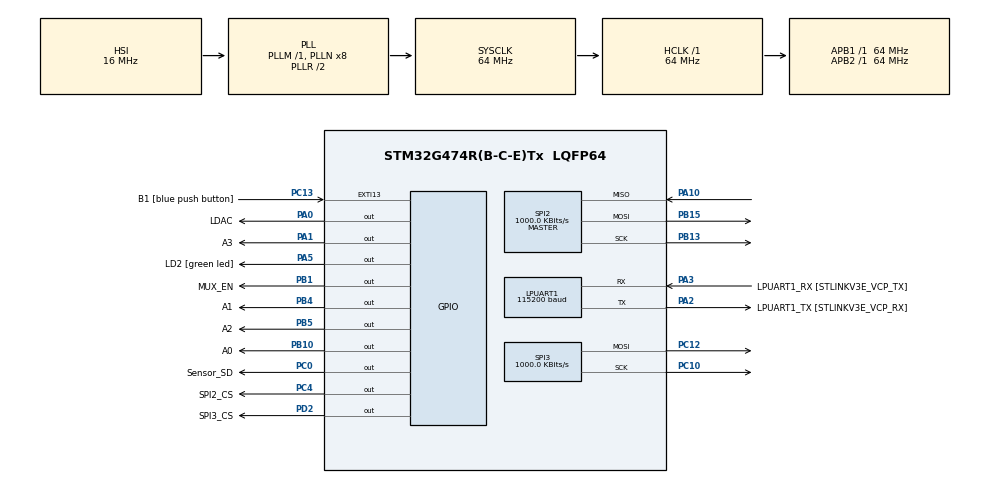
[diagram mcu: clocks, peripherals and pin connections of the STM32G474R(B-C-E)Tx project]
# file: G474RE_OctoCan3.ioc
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LPUART1.BaudRate=115200
LPUART1.FIFOMode=UART_FIFOMODE_ENABLE
LPUART1.WordLength=UART_WORDLENGTH_8B
Mcu.Family=STM32G4
Mcu.Name=STM32G474R(B-C-E)Tx
Mcu.Package=LQFP64
NVIC.EXTI15_10_IRQn=true\:0\:0\:false\:false\:true\:true\:true\:true
NVIC.PriorityGroup=NVIC_PRIORITYGROUP_4
NVIC.TIM6_DAC_IRQn=true\:0\:0\:false\:false\:true\:true\:true\:true
PA0.GPIO_Label=LDAC
PA0.Signal=GPIO_Output
PA1.GPIO_Label=A3
PA1.Signal=GPIO_Output
PA10.Mode=Full_Duplex_Master
PA10.Signal=SPI2_MISO
PA13.GPIO_Label=T_SWDIO
PA13.Mode=Trace_Asynchronous_SW
PA13.Signal=SYS_JTMS-SWDIO
PA14.GPIO_Label=T_SWCLK
PA14.Mode=Trace_Asynchronous_SW
PA14.Signal=SYS_JTCK-SWCLK
PA2.GPIO_Label=LPUART1_TX [STLINKV3E_VCP_RX]
PA2.Mode=Asynchronous
PA2.Signal=LPUART1_TX
PA3.GPIO_Label=LPUART1_RX [STLINKV3E_VCP_TX]
PA3.Mode=Asynchronous
PA3.Signal=LPUART1_RX
PA5.GPIO_Label=LD2 [green led]
PA5.Signal=GPIO_Output
PA8.Signal=USART1_CK
PA9.Signal=USART1_TX
PB1.GPIO_Label=MUX_EN
PB1.Signal=GPIO_Output
PB10.GPIO_Label=A0
PB10.Signal=GPIO_Output
PB13.Mode=Full_Duplex_Master
PB13.Signal=SPI2_SCK
PB15.Mode=Full_Duplex_Master
PB15.Signal=SPI2_MOSI
PB3.GPIO_Label=T_SWO
PB3.Mode=Trace_Asynchronous_SW
PB3.Signal=SYS_JTDO-SWO
PB4.GPIO_Label=A1
PB4.Signal=GPIO_Output
PB5.GPIO_Label=A2
PB5.Signal=GPIO_Output
PC0.GPIO_Label=Sensor_SD
PC0.PinState=GPIO_PIN_SET
PC0.Signal=GPIO_Output
PC10.Mode=TX_Only_Simplex_Unidirect_Master
PC10.Signal=SPI3_SCK
PC11.Signal=SPI3_MISO
PC12.Mode=TX_Only_Simplex_Unidirect_Master
PC12.Signal=SPI3_MOSI
PC13.GPIO_Label=B1 [blue push button]
PC13.Signal=GPXTI13
PC14-OSC32_IN.Mode=LSE-External-Oscillator
PC14-OSC32_IN.Signal=RCC_OSC32_IN
PC15-OSC32_OUT.Mode=LSE-External-Oscillator
PC15-OSC32_OUT.Signal=RCC_OSC32_OUT
PC4.GPIO_Label=SPI2_CS
PC4.Signal=GPIO_Output
PC5.Signal=USART1_RX
PD2.GPIO_Label=SPI3_CS
PD2.Signal=GPIO_Output
PF0-OSC_IN.Mode=HSE-External-Oscillator
PF0-OSC_IN.Signal=RCC_OSC_IN
PF1-OSC_OUT.Mode=HSE-External-Oscillator
PF1-OSC_OUT.Signal=RCC_OSC_OUT
ProjectManager.HeapSize=0x200
ProjectManager.StackSize=0x400
ProjectManager.TargetToolchain=STM32CubeIDE
RCC.ADC12Freq_Value=64000000
RCC.ADC345Freq_Value=64000000
RCC.AHBFreq_Value=64000000
RCC.APB1Freq_Value=64000000
RCC.APB1TimFreq_Value=64000000
RCC.APB2Freq_Value=64000000
RCC.APB2TimFreq_Value=64000000
RCC.CortexFreq_Value=64000000
RCC.EXTERNAL_CLOCK_VALUE=12288000
RCC.HCLKFreq_Value=64000000
RCC.HSE_VALUE=24000000
RCC.HSI48_VALUE=48000000
RCC.HSI_VALUE=16000000
RCC.RTCClockSelection=RCC_RTCCLKSOURCE_LSE
RCC.SYSCLKFreq_VALUE=64000000
RCC.SYSCLKSource=RCC_SYSCLKSOURCE_PLLCLK
RCC.USBFreq_Value=64000000
RCC.VCOOutputFreq_Value=128000000
SPI2.BaudRatePrescaler=SPI_BAUDRATEPRESCALER_64
SPI2.CLKPolarity=SPI_POLARITY_LOW
SPI2.CalculateBaudRate=1000.0 KBits/s
SPI2.DataSize=SPI_DATASIZE_8BIT
SPI2.Direction=SPI_DIRECTION_2LINES
SPI2.Mode=SPI_MODE_MASTER
SPI2.VirtualType=VM_MASTER
SPI3.BaudRatePrescaler=SPI_BAUDRATEPRESCALER_64
SPI3.CalculateBaudRate=1000.0 KBits/s
SPI3.DataSize=SPI_DATASIZE_16BIT
SPI3.Direction=SPI_DIRECTION_2LINES
SPI3.Mode=SPI_MODE_MASTER
SPI3.VirtualType=VM_MASTER
TIM6.PeriodNoDither=1000
TIM6.Prescaler=64-1
VP_SYS_VS_DBSignals.Mode=DisableDeadBatterySignals
VP_TIM6_VS_ClockSourceINT.Mode=Enable_Timer
board=NUCLEO-G474RE

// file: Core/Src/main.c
/* USER CODE BEGIN Header */
/**
  ******************************************************************************
  * @file           : main.c
  * @brief          : Main program body
  ******************************************************************************
  * @attention
  *
  * Copyright (c) 2022 STMicroelectronics.
  * All rights reserved.
  *
  * This software is licensed under terms that can be found in the LICENSE file
  * in the root directory of this software component.
  * If no LICENSE file comes with this software, it is provided AS-IS.
  *
  ******************************************************************************
  */

/* USER CODE END Header */
#include "main.h"

/* USER CODE BEGIN Includes */
#include <stdio.h>
#include "string.h"
/* USER CODE END Includes */

/* USER CODE BEGIN PD */
#define true 1
#define false 0

// Controller Variables //
#define NUMBER_OF_SENSORS 16 							// Total number of sensors (16)
#define TARGET 26844									// Calibration target, represents 1.024 Volts
#define DAC_CONFIG_BITS 0b0101							// DAC'a configuration bits(DACa:Buffered:2x:PowerDown)
/* USER CODE END PD */

UART_HandleTypeDef hlpuart1;
SPI_HandleTypeDef hspi2;
SPI_HandleTypeDef hspi3;
TIM_HandleTypeDef htim6;

/* USER CODE BEGIN PV */
enum States {sCALIB = 'C', sLOG = 'L', sTest = 'T',		// Command States
sSTOP = 'S', sSetup = 'E', sRaw = 'X'};
uint16_t sen_dac[16]; 			  						// Sensors calibrated DAC value
uint16_t cal_dac;										// Calibrated DAC value
/* USER CODE END PV */

void SystemClock_Config(void);
static void MX_GPIO_Init(void);
static void MX_LPUART1_UART_Init(void);
static void MX_SPI2_Init(void);
static void MX_SPI3_Init(void);
static void MX_TIM6_Init(void);
/* USER CODE BEGIN PFP */
uint16_t mux_func(uint16_t n);							// MUX selector function
void calibrate(); 										// Calibration function
uint16_t get_adc(); 									// Get ADC function
void dac_write(uint16_t value); 						// Set DAC function
void log_adc(uint8_t data);								// Log ADC function
/* USER CODE END PFP */

/* USER CODE BEGIN 0 */
/* With GCC/RAISONANCE, small printf (option LD Linker->Libraries->Small printf
 set to 'Yes') calls __io_putchar() */
#ifdef __GNUC__
#define PUTCHAR_PROTOTYPE int __io_putchar(int ch)
#else
#define PUTCHAR_PROTOTYPE int fputc(int ch, FILE *f)
#endif
/* USER CODE END 0 */

int main(void) {
  /* USER CODE BEGIN 1 */
	uint8_t i,log;
	//uint16_t dac_increment = 0;
	uint8_t log_en = false;
  /* USER CODE END 1 */

  /* MCU Configuration--------------------------------------------------------*/

  /* Reset of all peripherals, Initializes the Flash interface and the Systick. */
  HAL_Init();

  /* Configure the system clock */
  SystemClock_Config();

  /* Initialize all configured peripherals */
  MX_GPIO_Init();
  MX_LPUART1_UART_Init();
  MX_SPI2_Init();
  MX_SPI3_Init();
  MX_TIM6_Init();
  /* USER CODE BEGIN 2 */
	puts("Initialized");
	dac_write(0); // Sets DAC
	//Sensor_SD GPIO Port SET To HIGH
	HAL_GPIO_WritePin(Sensor_SD_GPIO_Port, Sensor_SD_Pin, GPIO_PIN_SET);
  /* USER CODE END 2 */

  /* Infinite loop */
  /* USER CODE BEGIN WHILE */
	while (1) {
		char command = 0;
		if(READ_BIT(hlpuart1.Instance->ISR, USART_ISR_RXNE_RXFNE) != 0 ) {
					command = (char)hlpuart1.Instance->RDR;
		}
		// Receives Command //
		switch(command) {

		// Start Calibration //
			case sCALIB:
				printf("Calibrating\r\n");
				for(i=0; i<NUMBER_OF_SENSORS; i++) {
					mux_func(i);
					HAL_Delay(1);
					calibrate();
					sen_dac[i] = cal_dac;
					printf("cDAC: %hu\r\n", sen_dac[i]);
					printf("Sensor: %hu Success\r\n", i);
				}
				break;

		// Logs ADC in ASCII //
			case sLOG:
				printf("Logging\r\n");
				log = 1;
				log_en = true;
				break;

		// Tests DAC //
			case sTest:
				for(;;){
					dac_write(0);
					HAL_Delay(1);
					dac_write(4095);
					HAL_Delay(1);
				}

		// Stops Logging //
			case sSTOP:
				printf("STOPPING\r\n");
				log_en = false;
				break;

		// Set up Firmware //
			case sSetup:
				// Initialization
				printf("Setup\r\n");
				mux_func(1);
				HAL_Delay(1);
				// Calibration
				printf("Calibrating\r\n");
				for(i=0; i<NUMBER_OF_SENSORS; i++) {
					mux_func(i);
					HAL_Delay(1);
					calibrate();
					sen_dac[i] = cal_dac;
					printf("cDAC: %hu\r\n", sen_dac[i]);
					printf("Sensor: %hu Success\r\n", i);
				}
				// Logging
				HAL_Delay(1);
				printf("Logging\r\n");
				log = 1;
				log_en = true;
				break;

		// Logs ADC in raw //
			case sRaw:
				printf("Logging\r\n");
				log = 2;
				log_en = true;

		// Default //
			default:
				break;
		}

	if (log_en) { log_adc(log); }
	HAL_Delay(1);
    /* USER CODE END WHILE */
	}
}

void SystemClock_Config(void)
{
  RCC_OscInitTypeDef RCC_OscInitStruct = {0};
  RCC_ClkInitTypeDef RCC_ClkInitStruct = {0};

  /** Configure the main internal regulator output voltage
  */
  HAL_PWREx_ControlVoltageScaling(PWR_REGULATOR_VOLTAGE_SCALE1);

  /** Initializes the RCC Oscillators according to the specified parameters
  * in the RCC_OscInitTypeDef structure.
  */
  RCC_OscInitStruct.OscillatorType = RCC_OSCILLATORTYPE_HSI;
  RCC_OscInitStruct.HSIState = RCC_HSI_ON;
  RCC_OscInitStruct.HSICalibrationValue = RCC_HSICALIBRATION_DEFAULT;
  RCC_OscInitStruct.PLL.PLLState = RCC_PLL_ON;
  RCC_OscInitStruct.PLL.PLLSource = RCC_PLLSOURCE_HSI;
  RCC_OscInitStruct.PLL.PLLM = RCC_PLLM_DIV1;
  RCC_OscInitStruct.PLL.PLLN = 8;
  RCC_OscInitStruct.PLL.PLLP = RCC_PLLP_DIV2;
  RCC_OscInitStruct.PLL.PLLQ = RCC_PLLQ_DIV2;
  RCC_OscInitStruct.PLL.PLLR = RCC_PLLR_DIV2;
  if (HAL_RCC_OscConfig(&RCC_OscInitStruct) != HAL_OK)
  {
    Error_Handler();
  }

  /** Initializes the CPU, AHB and APB buses clocks
  */
  RCC_ClkInitStruct.ClockType = RCC_CLOCKTYPE_HCLK|RCC_CLOCKTYPE_SYSCLK
                              |RCC_CLOCKTYPE_PCLK1|RCC_CLOCKTYPE_PCLK2;
  RCC_ClkInitStruct.SYSCLKSource = RCC_SYSCLKSOURCE_PLLCLK;
  RCC_ClkInitStruct.AHBCLKDivider = RCC_SYSCLK_DIV1;
  RCC_ClkInitStruct.APB1CLKDivider = RCC_HCLK_DIV1;
  RCC_ClkInitStruct.APB2CLKDivider = RCC_HCLK_DIV1;

  if (HAL_RCC_ClockConfig(&RCC_ClkInitStruct, FLASH_LATENCY_2) != HAL_OK)
  {
    Error_Handler();
  }
}

static void MX_LPUART1_UART_Init(void)
{

  hlpuart1.Instance = LPUART1;
  hlpuart1.Init.BaudRate = 115200;
  hlpuart1.Init.WordLength = UART_WORDLENGTH_8B;
  hlpuart1.Init.StopBits = UART_STOPBITS_1;
  hlpuart1.Init.Parity = UART_PARITY_NONE;
  hlpuart1.Init.Mode = UART_MODE_TX_RX;
  hlpuart1.Init.HwFlowCtl = UART_HWCONTROL_NONE;
  hlpuart1.Init.OneBitSampling = UART_ONE_BIT_SAMPLE_DISABLE;
  hlpuart1.Init.ClockPrescaler = UART_PRESCALER_DIV1;
  hlpuart1.AdvancedInit.AdvFeatureInit = UART_ADVFEATURE_NO_INIT;
  if (HAL_UART_Init(&hlpuart1) != HAL_OK)
  {
    Error_Handler();
  }
  if (HAL_UARTEx_SetTxFifoThreshold(&hlpuart1, UART_TXFIFO_THRESHOLD_1_8) != HAL_OK)
  {
    Error_Handler();
  }
  if (HAL_UARTEx_SetRxFifoThreshold(&hlpuart1, UART_RXFIFO_THRESHOLD_1_8) != HAL_OK)
  {
    Error_Handler();
  }
  if (HAL_UARTEx_EnableFifoMode(&hlpuart1) != HAL_OK)
  {
    Error_Handler();
  }

}

static void MX_SPI2_Init(void)
{

  /* SPI2 parameter configuration*/
  hspi2.Instance = SPI2;
  hspi2.Init.Mode = SPI_MODE_MASTER;
  hspi2.Init.Direction = SPI_DIRECTION_2LINES;
  hspi2.Init.DataSize = SPI_DATASIZE_8BIT;
  hspi2.Init.CLKPolarity = SPI_POLARITY_LOW;
  hspi2.Init.CLKPhase = SPI_PHASE_1EDGE;
  hspi2.Init.NSS = SPI_NSS_SOFT;
  hspi2.Init.BaudRatePrescaler = SPI_BAUDRATEPRESCALER_64;
  hspi2.Init.FirstBit = SPI_FIRSTBIT_MSB;
  hspi2.Init.TIMode = SPI_TIMODE_DISABLE;
  hspi2.Init.CRCCalculation = SPI_CRCCALCULATION_DISABLE;
  hspi2.Init.CRCPolynomial = 7;
  hspi2.Init.CRCLength = SPI_CRC_LENGTH_DATASIZE;
  hspi2.Init.NSSPMode = SPI_NSS_PULSE_ENABLE;
  if (HAL_SPI_Init(&hspi2) != HAL_OK)
  {
    Error_Handler();
  }

}

static void MX_SPI3_Init(void)
{

  /* SPI3 parameter configuration*/
  hspi3.Instance = SPI3;
  hspi3.Init.Mode = SPI_MODE_MASTER;
  hspi3.Init.Direction = SPI_DIRECTION_2LINES;
  hspi3.Init.DataSize = SPI_DATASIZE_16BIT;
  hspi3.Init.CLKPolarity = SPI_POLARITY_LOW;
  hspi3.Init.CLKPhase = SPI_PHASE_1EDGE;
  hspi3.Init.NSS = SPI_NSS_SOFT;
  hspi3.Init.BaudRatePrescaler = SPI_BAUDRATEPRESCALER_64;
  hspi3.Init.FirstBit = SPI_FIRSTBIT_MSB;
  hspi3.Init.TIMode = SPI_TIMODE_DISABLE;
  hspi3.Init.CRCCalculation = SPI_CRCCALCULATION_DISABLE;
  hspi3.Init.CRCPolynomial = 7;
  hspi3.Init.CRCLength = SPI_CRC_LENGTH_DATASIZE;
  hspi3.Init.NSSPMode = SPI_NSS_PULSE_ENABLE;
  if (HAL_SPI_Init(&hspi3) != HAL_OK)
  {
    Error_Handler();
  }

}

static void MX_TIM6_Init(void)
{

  TIM_MasterConfigTypeDef sMasterConfig = {0};

  htim6.Instance = TIM6;
  htim6.Init.Prescaler = 64-1;
  htim6.Init.CounterMode = TIM_COUNTERMODE_UP;
  htim6.Init.Period = 1000;
  htim6.Init.AutoReloadPreload = TIM_AUTORELOAD_PRELOAD_DISABLE;
  if (HAL_TIM_Base_Init(&htim6) != HAL_OK)
  {
    Error_Handler();
  }
  sMasterConfig.MasterOutputTrigger = TIM_TRGO_RESET;
  sMasterConfig.MasterSlaveMode = TIM_MASTERSLAVEMODE_DISABLE;
  if (HAL_TIMEx_MasterConfigSynchronization(&htim6, &sMasterConfig) != HAL_OK)
  {
    Error_Handler();
  }

}

static void MX_GPIO_Init(void)
{
  GPIO_InitTypeDef GPIO_InitStruct = {0};

  /* GPIO Ports Clock Enable */
  __HAL_RCC_GPIOC_CLK_ENABLE();
  __HAL_RCC_GPIOF_CLK_ENABLE();
  __HAL_RCC_GPIOA_CLK_ENABLE();
  __HAL_RCC_GPIOB_CLK_ENABLE();
  __HAL_RCC_GPIOD_CLK_ENABLE();

  /*Configure GPIO pin Output Level */
  HAL_GPIO_WritePin(Sensor_SD_GPIO_Port, Sensor_SD_Pin, GPIO_PIN_SET);

  /*Configure GPIO pin Output Level */
  HAL_GPIO_WritePin(GPIOA, LDAC_Pin|A3_Pin|LD2_Pin, GPIO_PIN_RESET);

  /*Configure GPIO pin Output Level */
  HAL_GPIO_WritePin(SPI2_CS_GPIO_Port, SPI2_CS_Pin, GPIO_PIN_RESET);

  /*Configure GPIO pin Output Level */
  HAL_GPIO_WritePin(GPIOB, MUX_EN_Pin|A0_Pin|A1_Pin|A2_Pin, GPIO_PIN_RESET);

  /*Configure GPIO pin Output Level */
  HAL_GPIO_WritePin(SPI3_CS_GPIO_Port, SPI3_CS_Pin, GPIO_PIN_RESET);

  /*Configure GPIO pin : B1_Pin */
  GPIO_InitStruct.Pin = B1_Pin;
  GPIO_InitStruct.Mode = GPIO_MODE_IT_RISING;
  GPIO_InitStruct.Pull = GPIO_NOPULL;
  HAL_GPIO_Init(B1_GPIO_Port, &GPIO_InitStruct);

  /*Configure GPIO pins : Sensor_SD_Pin SPI2_CS_Pin */
  GPIO_InitStruct.Pin = Sensor_SD_Pin|SPI2_CS_Pin;
  GPIO_InitStruct.Mode = GPIO_MODE_OUTPUT_PP;
  GPIO_InitStruct.Pull = GPIO_NOPULL;
  GPIO_InitStruct.Speed = GPIO_SPEED_FREQ_LOW;
  HAL_GPIO_Init(GPIOC, &GPIO_InitStruct);

  /*Configure GPIO pins : LDAC_Pin A3_Pin LD2_Pin */
  GPIO_InitStruct.Pin = LDAC_Pin|A3_Pin|LD2_Pin;
  GPIO_InitStruct.Mode = GPIO_MODE_OUTPUT_PP;
  GPIO_InitStruct.Pull = GPIO_NOPULL;
  GPIO_InitStruct.Speed = GPIO_SPEED_FREQ_LOW;
  HAL_GPIO_Init(GPIOA, &GPIO_InitStruct);

  /*Configure GPIO pin : PC5 */
  GPIO_InitStruct.Pin = GPIO_PIN_5;
  GPIO_InitStruct.Mode = GPIO_MODE_AF_PP;
  GPIO_InitStruct.Pull = GPIO_NOPULL;
  GPIO_InitStruct.Speed = GPIO_SPEED_FREQ_LOW;
  GPIO_InitStruct.Alternate = GPIO_AF7_USART1;
  HAL_GPIO_Init(GPIOC, &GPIO_InitStruct);

  /*Configure GPIO pins : MUX_EN_Pin A0_Pin A1_Pin A2_Pin */
  GPIO_InitStruct.Pin = MUX_EN_Pin|A0_Pin|A1_Pin|A2_Pin;
  GPIO_InitStruct.Mode = GPIO_MODE_OUTPUT_PP;
  GPIO_InitStruct.Pull = GPIO_NOPULL;
  GPIO_InitStruct.Speed = GPIO_SPEED_FREQ_LOW;
  HAL_GPIO_Init(GPIOB, &GPIO_InitStruct);

  /*Configure GPIO pins : PA8 PA9 */
  GPIO_InitStruct.Pin = GPIO_PIN_8|GPIO_PIN_9;
  GPIO_InitStruct.Mode = GPIO_MODE_AF_PP;
  GPIO_InitStruct.Pull = GPIO_NOPULL;
  GPIO_InitStruct.Speed = GPIO_SPEED_FREQ_LOW;
  GPIO_InitStruct.Alternate = GPIO_AF7_USART1;
  HAL_GPIO_Init(GPIOA, &GPIO_InitStruct);

  /*Configure GPIO pin : SPI3_CS_Pin */
  GPIO_InitStruct.Pin = SPI3_CS_Pin;
  GPIO_InitStruct.Mode = GPIO_MODE_OUTPUT_PP;
  GPIO_InitStruct.Pull = GPIO_NOPULL;
  GPIO_InitStruct.Speed = GPIO_SPEED_FREQ_LOW;
  HAL_GPIO_Init(SPI3_CS_GPIO_Port, &GPIO_InitStruct);

  /* EXTI interrupt init*/
  HAL_NVIC_SetPriority(EXTI15_10_IRQn, 0, 0);
  HAL_NVIC_EnableIRQ(EXTI15_10_IRQn);

}

/* USER CODE BEGIN 4 */
/**
 * @brief Retargets the C library printf function to the USART.
 * @param None
 * @retval None
 */
PUTCHAR_PROTOTYPE {

 /* Place your implementation of fputc here */
 /* e.g. write a character to the USART2 and Loop until the end of transmission */
 HAL_UART_Transmit(&hlpuart1, (uint8_t *)&ch, 1, 0xFFFF);

return ch;
}

/**
 * @brief Selects channel from MUX
 * @param uint8_t n
 * @retval 2 if failed, 0 if completed
 */
uint16_t mux_func(uint16_t n) {

	HAL_GPIO_WritePin(MUX_EN_GPIO_Port, MUX_EN_Pin, GPIO_PIN_SET);

    if(n>=0 && n<=15) {
    	HAL_GPIO_WritePin(A0_GPIO_Port, A0_Pin, n&1);
    	n >>= 1;
    	HAL_GPIO_WritePin(A1_GPIO_Port, A1_Pin, n&1);
    	n >>= 1;
    	HAL_GPIO_WritePin(A2_GPIO_Port, A2_Pin, n&1);
    	n >>= 1;
    	HAL_GPIO_WritePin(A3_GPIO_Port, A3_Pin, n&1);
    }
    else {
        /* Out of Bounds */
        return 1;
    }
    return 0;
}

/**
 * @brief creates a delay in microseconds
 * @param t total delay in microseconds
 * @retval None
 */
void delay_us(uint16_t t) {

	// Start timer
	SET_BIT(TIM6->CR1, TIM_CR1_CEN);

	// Reset the timer's counter register value to zero
	TIM6->CNT = 0;

	// Busy checking the counter
	while(TIM6->CNT < t);

	// Stop timer
	CLEAR_BIT(TIM6->CR1, TIM_CR1_CEN);
}

/**
 * @brief Calibrates sensor
 * @param None
 * @retval true if successful, false otherwise
 */
void calibrate() {

	// Variables //
	uint16_t upper_bound = TARGET + 500;			// upper bounds of target
	uint16_t lower_bound = TARGET - 500;			// lower bounds of target
	uint8_t flag = 0;								// flags 1 if ADC > UB, 0 if ADC < LB
	uint8_t i = 0;									// number of iterations
    uint16_t val_adc[25]; 							// current ADC value
    uint16_t val_dac[25]; 							// current DAC value
    uint16_t incr_dac[25]; 							// current DAC increment

    // sets indexes to 0 //
    for (int j = 0; j < 25; j++) {
    	val_adc[j] = 0;
    	val_dac[j] = 0;
    	incr_dac[j] = 0;
    }

    // First Iteration (i = 0) //
    incr_dac[i] = 4096;
    val_dac[i] = 0;
    dac_write(val_dac[i]);
    delay_us(30);
    val_adc[i] = get_adc();

    // flags initial value //
	if (val_adc[i] > upper_bound) {
		flag = 0;
	}
	else if (val_adc[i] < lower_bound) {
		flag = 1;
	}

	// Start of calibration loop //
    while ((val_adc[i] > upper_bound) || (val_adc[i] < lower_bound)) {

    	// Iteration (1 to 25) //
        i = i + 1;
        if (i > 25) {
        	break;
        }

        // Checks voltage across event //
        if((val_adc[i-1] < lower_bound) && (flag == 1)) {
            incr_dac[i] = (uint16_t)(incr_dac[i-1]>>1);
            flag = 0;
        }
        else if ((val_adc[i-1] > upper_bound) && (flag == 0)) {
            incr_dac[i] = (uint16_t)(incr_dac[i-1]>>1);
            flag = 1;
        }
        else {
        	incr_dac[i] = incr_dac[i-1];
        }

        // Updates DAC for next iteration //
        if (flag == 1) {
        	val_dac[i] = (val_dac[i-1] + incr_dac[i] > 4095) ? 4095 : val_dac[i-1] + incr_dac[i];
        }
        else {
        	val_dac[i] = (val_dac[i-1] < incr_dac[i]) ? 1 : val_dac[i-1] - incr_dac[i];
        }

        // Update ADC value //
        dac_write(val_dac[i]);
        delay_us(30);
        val_adc[i] = get_adc();
    }

	HAL_Delay(1);

	// Print status //
	printf("Completed in %d steps\r\n", i-1);
	printf("ADC: %d\r\n", val_adc[i-1]);
	printf("MOE: %d from target\r\n", TARGET - val_adc[i-1]);
	cal_dac = val_dac[i-1];
}

/**
 * @brief Reads ADC Value
 * @param None
 * @retval ADC Value
 */
uint16_t get_adc() {

	uint8_t adc_value[2];
	// Start ADC conversion by toggling CNVST pin //
	HAL_GPIO_WritePin(SPI2_CS_GPIO_Port, SPI2_CS_Pin, GPIO_PIN_SET);
	HAL_Delay(1);
	HAL_GPIO_WritePin(SPI2_CS_GPIO_Port, SPI2_CS_Pin, GPIO_PIN_RESET);
	HAL_SPI_Receive(&hspi2, adc_value, 2, HAL_MAX_DELAY);

	return (adc_value[0] << 8) | adc_value[1];
}

/**
 * @brief Logs ADC Value
 * @param None
 * @retval None
 */
void log_adc(uint8_t data) {
		for (int i = 0; i < NUMBER_OF_SENSORS; i++) {
		        mux_func(i);
		        HAL_Delay(1);
		        dac_write(sen_dac[i]);
		        delay_us(30);
		        uint32_t cur_adc = get_adc();

		        // Logs ADC in ASCII //
		        if (data == 1) {
		        	printf("S%d:", i);
		        	printf("%lu", cur_adc);
		        	printf(",");
		        	HAL_Delay(1);
		        }

		        // Logs ADC in RAW //
		        else if(data == 2) {
		        	// Address format //
		        	uint8_t address[5] = { 		// Data address for visualizer
		        		0x55, 					// Start of address
						0x10 + i, 				// Selected MUX and channel
						0x00, 					// Padding
						(cur_adc>>8) & 0xFF, 	// MSB
						cur_adc & 0xFF			// LSB
		        	};

					// Transmit address //
					HAL_UART_Transmit(&hlpuart1, address, 5, HAL_MAX_DELAY);
		        }

		    }
		// Uncomment for Arduino Plotter //
		/* printf("\r\n"); */
	}

/**
 * @brief Sends data through SPI Bus
 * @param 16bit Value
 * @retval None
 */
void dac_write(uint16_t value) {

	value = (DAC_CONFIG_BITS << 12) | value;
	HAL_GPIO_WritePin(SPI3_CS_GPIO_Port, SPI3_CS_Pin, GPIO_PIN_RESET);
	// QUESTION: Should it be 1 or 2?
	HAL_SPI_Transmit(&hspi3, (uint8_t *)&value, 1, HAL_MAX_DELAY);
	HAL_GPIO_WritePin(SPI3_CS_GPIO_Port, SPI3_CS_Pin, GPIO_PIN_SET);
}
/* USER CODE END 4 */

void Error_Handler(void)
{
  __disable_irq();
  while (1)
  {
  }
}
